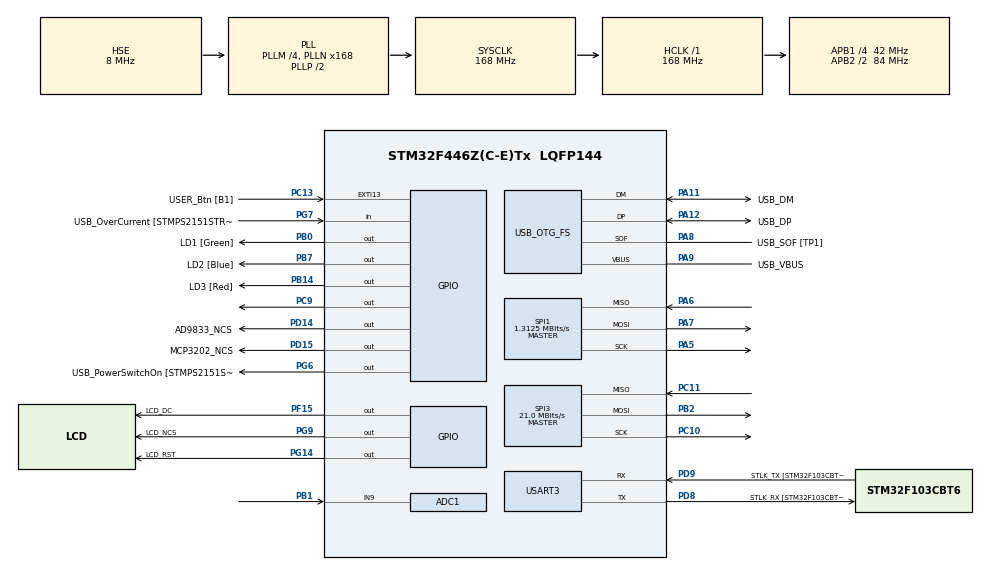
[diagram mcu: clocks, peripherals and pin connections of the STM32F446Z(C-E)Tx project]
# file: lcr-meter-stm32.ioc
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ADC1.Channel-0\#ChannelRegularConversion=ADC_CHANNEL_9
ADC1.NbrOfConversionFlag=1
ADC1.Rank-0\#ChannelRegularConversion=1
ADC1.SamplingTime-0\#ChannelRegularConversion=ADC_SAMPLETIME_3CYCLES
ADC1.master=1
Mcu.Family=STM32F4
Mcu.Name=STM32F446Z(C-E)Tx
Mcu.Package=LQFP144
NVIC.EXTI15_10_IRQn=true\:0\:0\:false\:false\:true\:true\:true\:true
NVIC.PriorityGroup=NVIC_PRIORITYGROUP_4
NVIC.TIM2_IRQn=true\:0\:0\:false\:false\:true\:true\:true\:true
PA10.GPIO_Label=USB_ID
PA10.Signal=USB_OTG_FS_ID
PA11.GPIO_Label=USB_DM
PA11.Mode=Device_Only
PA11.Signal=USB_OTG_FS_DM
PA12.GPIO_Label=USB_DP
PA12.Mode=Device_Only
PA12.Signal=USB_OTG_FS_DP
PA13.GPIO_Label=TMS
PA13.Mode=Serial_Wire
PA13.Signal=SYS_JTMS-SWDIO
PA14.GPIO_Label=TCK
PA14.Mode=Serial_Wire
PA14.Signal=SYS_JTCK-SWCLK
PA5.Mode=Full_Duplex_Master
PA5.Signal=SPI1_SCK
PA6.Mode=Full_Duplex_Master
PA6.Signal=SPI1_MISO
PA7.Mode=Full_Duplex_Master
PA7.Signal=SPI1_MOSI
PA8.GPIO_Label=USB_SOF [TP1]
PA8.Mode=Activate_SOF_FS
PA8.Signal=USB_OTG_FS_SOF
PA9.GPIO_Label=USB_VBUS
PA9.Mode=Activate_VBUS
PA9.Signal=USB_OTG_FS_VBUS
PB0.GPIO_Label=LD1 [Green]
PB0.Signal=GPIO_Output
PB1.Signal=ADCx_IN9
PB14.GPIO_Label=LD3 [Red]
PB14.Signal=GPIO_Output
PB2.Mode=Full_Duplex_Master
PB2.Signal=SPI3_MOSI
PB7.GPIO_Label=LD2 [Blue]
PB7.Signal=GPIO_Output
PC10.Mode=Full_Duplex_Master
PC10.Signal=SPI3_SCK
PC11.Mode=Full_Duplex_Master
PC11.Signal=SPI3_MISO
PC13.GPIO_Label=USER_Btn [B1]
PC13.Signal=GPXTI13
PC14-OSC32_IN.Mode=LSE-External-Oscillator
PC14-OSC32_IN.Signal=RCC_OSC32_IN
PC15-OSC32_OUT.Mode=LSE-External-Oscillator
PC15-OSC32_OUT.Signal=RCC_OSC32_OUT
PC9.PinState=GPIO_PIN_SET
PC9.Signal=GPIO_Output
PD14.GPIO_Label=AD9833_NCS
PD14.GPIO_Speed=GPIO_SPEED_FREQ_VERY_HIGH
PD14.PinState=GPIO_PIN_SET
PD14.Signal=GPIO_Output
PD15.GPIO_Label=MCP3202_NCS
PD15.GPIO_Speed=GPIO_SPEED_FREQ_VERY_HIGH
PD15.PinState=GPIO_PIN_SET
PD15.Signal=GPIO_Output
PD8.GPIO_Label=STLK_RX [STM32F103CBT6_PA3]
PD8.Mode=Asynchronous
PD8.Signal=USART3_TX
PD9.GPIO_Label=STLK_TX [STM32F103CBT6_PA2]
PD9.Mode=Asynchronous
PD9.Signal=USART3_RX
PF15.GPIO_Label=LCD_DC
PF15.GPIO_Speed=GPIO_SPEED_FREQ_VERY_HIGH
PF15.PinState=GPIO_PIN_SET
PF15.Signal=GPIO_Output
PG14.GPIO_Label=LCD_RST
PG14.GPIO_Speed=GPIO_SPEED_FREQ_VERY_HIGH
PG14.PinState=GPIO_PIN_SET
PG14.Signal=GPIO_Output
PG6.GPIO_Label=USB_PowerSwitchOn [STMPS2151STR_EN]
PG6.Signal=GPIO_Output
PG7.GPIO_Label=USB_OverCurrent [STMPS2151STR_FAULT]
PG7.Signal=GPIO_Input
PG9.GPIO_Label=LCD_NCS
PG9.GPIO_Speed=GPIO_SPEED_FREQ_VERY_HIGH
PG9.PinState=GPIO_PIN_SET
PG9.Signal=GPIO_Output
PH0-OSC_IN.GPIO_Label=MCO [STM32F103CBT6_PA8]
PH0-OSC_IN.Mode=HSE-External-Clock-Source
PH0-OSC_IN.Signal=RCC_OSC_IN
PH1-OSC_OUT.Mode=HSE-External-Clock-Source
PH1-OSC_OUT.Signal=RCC_OSC_OUT
ProjectManager.HeapSize=0x200
ProjectManager.StackSize=0x400
ProjectManager.TargetToolchain=STM32CubeIDE
RCC.48MHZClocksFreq_Value=24000000
RCC.AHBFreq_Value=168000000
RCC.APB1CLKDivider=RCC_HCLK_DIV4
RCC.APB1Freq_Value=42000000
RCC.APB1TimFreq_Value=84000000
RCC.APB2CLKDivider=RCC_HCLK_DIV2
RCC.APB2Freq_Value=84000000
RCC.APB2TimFreq_Value=168000000
RCC.CortexFreq_Value=168000000
RCC.HCLKFreq_Value=168000000
RCC.HSE_VALUE=8000000
RCC.HSI_VALUE=16000000
RCC.PLLM=4
RCC.PLLMUL=RCC_PLL_MUL9
RCC.PLLN=168
RCC.PLLQ=7
RCC.PRESCALERUSB=RCC_USBCLKSOURCE_PLL_DIV1_5
RCC.SYSCLKFreq_VALUE=168000000
RCC.SYSCLKSource=RCC_SYSCLKSOURCE_PLLCLK
RCC.SYSCLKSourceVirtual=RCC_SYSCLKSOURCE_PLLCLK
RCC.USBFreq_Value=48000000
RCC.VCOOutputFreq_Value=336000000
SH.ADCx_IN9.0=ADC1_IN9,IN9
SPI1.BaudRatePrescaler=SPI_BAUDRATEPRESCALER_64
SPI1.CLKPhase=SPI_PHASE_1EDGE
SPI1.CLKPolarity=SPI_POLARITY_HIGH
SPI1.CalculateBaudRate=1.3125 MBits/s
SPI1.Direction=SPI_DIRECTION_2LINES
SPI1.Mode=SPI_MODE_MASTER
SPI1.VirtualType=VM_MASTER
SPI3.CalculateBaudRate=21.0 MBits/s
SPI3.Direction=SPI_DIRECTION_2LINES
SPI3.Mode=SPI_MODE_MASTER
SPI3.VirtualType=VM_MASTER
TIM2.AutoReloadPreload=TIM_AUTORELOAD_PRELOAD_ENABLE
TIM2.ClockDivision=TIM_CLOCKDIVISION_DIV1
TIM2.Prescaler=83
USART3.VirtualMode=VM_ASYNC
USB_OTG_FS.VirtualMode=Device_Only
VP_TIM2_VS_ClockSourceINT.Mode=Internal
board=NUCLEO-F446ZE

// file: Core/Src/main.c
/* USER CODE BEGIN Header */
/**
  ******************************************************************************
  * @file           : main.c
  * @brief          : Main program body
  ******************************************************************************
  * @attention
  *
  * Copyright (c) 2024 STMicroelectronics.
  * All rights reserved.
  *
  * This software is licensed under terms that can be found in the LICENSE file
  * in the root directory of this software component.
  * If no LICENSE file comes with this software, it is provided AS-IS.
  *
  ******************************************************************************
  */
/* USER CODE END Header */
#include "main.h"

/* USER CODE BEGIN Includes */
#include "string.h"
#include "AD9833_STM32.h"
#include "MCP3202_STM32.h"
#include "sine_fit_STM32.h"
#include "sine_linear_regression_STM32.h"

#include "ILI9341_STM32_Driver.h"
#include "ILI9341_GFX.h"

#include <math.h>
/* USER CODE END Includes */

ADC_HandleTypeDef hadc1;

SPI_HandleTypeDef hspi1;
SPI_HandleTypeDef hspi3;

TIM_HandleTypeDef htim2;

UART_HandleTypeDef huart3;

PCD_HandleTypeDef hpcd_USB_OTG_FS;

void SystemClock_Config(void);
static void MX_GPIO_Init(void);
static void MX_USART3_UART_Init(void);
static void MX_USB_OTG_FS_PCD_Init(void);
static void MX_ADC1_Init(void);
static void MX_SPI1_Init(void);
static void MX_TIM2_Init(void);
static void MX_SPI3_Init(void);

/* USER CODE BEGIN 0 */

uint32_t frequency = 1000;
int FREQ_UPDATE_NEEDED = 1; // Flag to tell the system that it needs to update the test frequency.

void Show_Stats(float reactance, float resistance, float frequency){
//	ILI9341_Fill_Screen(BLACK);
	ILI9341_Set_Rotation(SCREEN_HORIZONTAL_2);

	double X = (double) reactance;
	double R = (double) resistance;

	// Make sure in project properties to add the linker flag -u _printf_float

    char buffer[50]; // Buffer to hold the formatted string
	if (X < 0){
		float capacitance = -1e9 / (2 * M_PI * frequency * X);
		ILI9341_Draw_Text("                        ", 10, 48, WHITE, 2, BLACK);
		snprintf(buffer, sizeof(buffer), "Cs: %.2f nF", capacitance);
		ILI9341_Draw_Text(buffer, 10, 48, WHITE, 2, BLACK);

        char impedance[50];
        snprintf(impedance, sizeof(impedance), "Z: %.2f - j %.2f", R, -X);

		ILI9341_Draw_Text("                        ", 10, 144, WHITE, 2, BLACK);
		ILI9341_Draw_Text(impedance, 10, 144, WHITE, 2, BLACK);

	} else {
        float inductance = X * 1e6 / (2 * M_PI * frequency);
		ILI9341_Draw_Text("                        ", 10, 48, WHITE, 2, BLACK);
        snprintf(buffer, sizeof(buffer), "Ls: %.2f uH", inductance);
        ILI9341_Draw_Text(buffer, 10, 48, WHITE, 2, BLACK);

        char impedance[50];
        snprintf(impedance, sizeof(impedance), "Z: %.2f + j %.2f", R, X);

		ILI9341_Draw_Text("                        ", 10, 144, WHITE, 2, BLACK);
		ILI9341_Draw_Text(impedance, 10, 144, WHITE, 2, BLACK);
	}

	ILI9341_Draw_Text("                        ", 10, 96, WHITE, 2, BLACK);
	snprintf(buffer, sizeof(buffer), "ESR: %.2f Ohms", R);
	ILI9341_Draw_Text(buffer, 10, 96, WHITE, 2, BLACK);

	ILI9341_Draw_Text("                        ", 10, 192, WHITE, 2, BLACK);
	snprintf(buffer, sizeof(buffer), "Freq: %.2f kHz", frequency / 1000);
	ILI9341_Draw_Text(buffer, 10, 192, WHITE, 2, BLACK);
}

uint32_t Get_Time_us(void) {
	return __HAL_TIM_GET_COUNTER(&htim2); // Read timer
}

void wait_us(uint32_t w) {
  uint32_t s = Get_Time_us();
  while(Get_Time_us() - s < w);
}

/* USER CODE END 0 */

int main(void)
{

  /* MCU Configuration--------------------------------------------------------*/

  /* Reset of all peripherals, Initializes the Flash interface and the Systick. */
  HAL_Init();

  /* Configure the system clock */
  SystemClock_Config();

  /* Initialize all configured peripherals */
  MX_GPIO_Init();
  MX_USART3_UART_Init();
  MX_USB_OTG_FS_PCD_Init();
  MX_ADC1_Init();
  MX_SPI1_Init();
  MX_TIM2_Init();
  MX_SPI3_Init();
  /* USER CODE BEGIN 2 */

  int n_points = 1000;

  uint32_t start_time;

  // All the data must be floating point, as the nucleo board I'm using doesn't have enough memory for double.
  float ch0_data[n_points];
  float ch0_time[n_points];
  memset(ch0_data, 0, n_points);  // Set all bytes in the array to 0
  memset(ch0_time, 0, n_points);  // Set all bytes in the array to 0

  float ch1_data[n_points];
  float ch1_time[n_points];
  memset(ch1_time, 0, n_points);  // Set all bytes in the array to 0
  memset(ch1_data, 0, n_points);  // Set all bytes in the array to 0

  __HAL_TIM_SET_COUNTER(&htim2, 0);
  HAL_TIM_Base_Start(&htim2);

  start_time = Get_Time_us();

  float load_amplitude = 0;
  float load_phase = 0;
  float load_offset = 0;

  float shunt_amplitude = 0;
  float shunt_phase = 0;
  float shunt_offset = 0;

  ILI9341_Init(); // This messses with somthing, which causxes the signal generation to be incorrect
  // Not sure what happens.

  /* USER CODE END 2 */

  /* Infinite loop */
  /* USER CODE BEGIN WHILE */
  while (1)
  {

	  if (FREQ_UPDATE_NEEDED > 0) {
		  AD9833_set_freq(frequency);
		  AD9833_set_freq(frequency);
		  // I have to do this twice because I'm using two SPI devices on this bus which
		  // use different modes. After an ADC reading, the clock idles low. This
		  // for some reason can't be changed by just reconfiguring the SPI bus (as I am doing in the
		  // AD9833 driver) but rather actually requires an spi transfer to initiate the correct
		  // Polarity clock for the start of the next transfer. This is required because the AD9833
		  // Requires the clock to idle HIGH before the CS/FSYNC pin goes low. I'm too lazy to figure
		  // out how to fix this easily. This works, so I'm keeping it.
		  FREQ_UPDATE_NEEDED = 0; // clear flag
	  }

	  float sampleF = frequency; // samples and hold the frequency to ensure it won't change while in the middle of gathering smaples
	  float avgX = 0;
	  float avgR = 0;
	  int cycles = 10;
	  for (int i = 0; i < cycles; i++) {
		  int samples = 0;
		  uint32_t s = Get_Time_us();
		  do { // Ensures that sample time is no longer than one period of a sine wave
			  //	  HAL_Delay(sample_delay);

			  ch0_data[samples] = ADC_Channel0();
			  ch0_time[samples] = ((double)(Get_Time_us() - start_time)) / 1e6;
		//	  HAL_Delay(sample_delay);
			  ch1_data[samples] = ADC_Channel1();
			  ch1_time[samples] = ((double)(Get_Time_us() - start_time)) / 1e6;

			  samples++;
		  } while((float)(Get_Time_us() - s) < 1 * 1e6 / frequency);

		  fitSineWave(ch0_data, ch0_time, samples, sampleF, &load_amplitude, &load_phase, &load_offset);
		  fitSineWave(ch1_data, ch1_time, samples, sampleF, &shunt_amplitude, &shunt_phase, &shunt_offset);

		  float shunt_resistance = 993.6;
		  float impedance_magnitude = (load_amplitude / (shunt_amplitude / shunt_resistance));
		  float impedance_angle = (load_phase - shunt_phase);
		  if (impedance_angle > M_PI) {
			  impedance_angle -= 2 * M_PI;
		  }
		  float resistance = impedance_magnitude * cos(impedance_angle) - shunt_resistance;
		  float reactance = impedance_magnitude * sin(impedance_angle);

		  samples = 0;
		  __HAL_TIM_SET_COUNTER(&htim2, 0);
		  start_time = Get_Time_us();
		  avgX += reactance;
		  avgR += resistance;
	  }
	  avgX = avgX / cycles;
	  avgR = avgR / cycles;

	  Show_Stats(avgX, avgR, sampleF);

    /* USER CODE END WHILE */

  }
}

void SystemClock_Config(void)
{
  RCC_OscInitTypeDef RCC_OscInitStruct = {0};
  RCC_ClkInitTypeDef RCC_ClkInitStruct = {0};

  /** Configure the main internal regulator output voltage
  */
  __HAL_RCC_PWR_CLK_ENABLE();
  __HAL_PWR_VOLTAGESCALING_CONFIG(PWR_REGULATOR_VOLTAGE_SCALE1);

  /** Initializes the RCC Oscillators according to the specified parameters
  * in the RCC_OscInitTypeDef structure.
  */
  RCC_OscInitStruct.OscillatorType = RCC_OSCILLATORTYPE_HSE;
  RCC_OscInitStruct.HSEState = RCC_HSE_BYPASS;
  RCC_OscInitStruct.PLL.PLLState = RCC_PLL_ON;
  RCC_OscInitStruct.PLL.PLLSource = RCC_PLLSOURCE_HSE;
  RCC_OscInitStruct.PLL.PLLM = 4;
  RCC_OscInitStruct.PLL.PLLN = 168;
  RCC_OscInitStruct.PLL.PLLP = RCC_PLLP_DIV2;
  RCC_OscInitStruct.PLL.PLLQ = 7;
  RCC_OscInitStruct.PLL.PLLR = 2;
  if (HAL_RCC_OscConfig(&RCC_OscInitStruct) != HAL_OK)
  {
    Error_Handler();
  }

  /** Initializes the CPU, AHB and APB buses clocks
  */
  RCC_ClkInitStruct.ClockType = RCC_CLOCKTYPE_HCLK|RCC_CLOCKTYPE_SYSCLK
                              |RCC_CLOCKTYPE_PCLK1|RCC_CLOCKTYPE_PCLK2;
  RCC_ClkInitStruct.SYSCLKSource = RCC_SYSCLKSOURCE_PLLCLK;
  RCC_ClkInitStruct.AHBCLKDivider = RCC_SYSCLK_DIV1;
  RCC_ClkInitStruct.APB1CLKDivider = RCC_HCLK_DIV4;
  RCC_ClkInitStruct.APB2CLKDivider = RCC_HCLK_DIV2;

  if (HAL_RCC_ClockConfig(&RCC_ClkInitStruct, FLASH_LATENCY_5) != HAL_OK)
  {
    Error_Handler();
  }
}

static void MX_ADC1_Init(void)
{

  ADC_ChannelConfTypeDef sConfig = {0};

  /** Configure the global features of the ADC (Clock, Resolution, Data Alignment and number of conversion)
  */
  hadc1.Instance = ADC1;
  hadc1.Init.ClockPrescaler = ADC_CLOCK_SYNC_PCLK_DIV4;
  hadc1.Init.Resolution = ADC_RESOLUTION_12B;
  hadc1.Init.ScanConvMode = DISABLE;
  hadc1.Init.ContinuousConvMode = DISABLE;
  hadc1.Init.DiscontinuousConvMode = DISABLE;
  hadc1.Init.ExternalTrigConvEdge = ADC_EXTERNALTRIGCONVEDGE_NONE;
  hadc1.Init.ExternalTrigConv = ADC_SOFTWARE_START;
  hadc1.Init.DataAlign = ADC_DATAALIGN_RIGHT;
  hadc1.Init.NbrOfConversion = 1;
  hadc1.Init.DMAContinuousRequests = DISABLE;
  hadc1.Init.EOCSelection = ADC_EOC_SINGLE_CONV;
  if (HAL_ADC_Init(&hadc1) != HAL_OK)
  {
    Error_Handler();
  }

  /** Configure for the selected ADC regular channel its corresponding rank in the sequencer and its sample time.
  */
  sConfig.Channel = ADC_CHANNEL_9;
  sConfig.Rank = 1;
  sConfig.SamplingTime = ADC_SAMPLETIME_3CYCLES;
  if (HAL_ADC_ConfigChannel(&hadc1, &sConfig) != HAL_OK)
  {
    Error_Handler();
  }

}

static void MX_SPI1_Init(void)
{

  /* SPI1 parameter configuration*/
  hspi1.Instance = SPI1;
  hspi1.Init.Mode = SPI_MODE_MASTER;
  hspi1.Init.Direction = SPI_DIRECTION_2LINES;
  hspi1.Init.DataSize = SPI_DATASIZE_8BIT;
  hspi1.Init.CLKPolarity = SPI_POLARITY_HIGH;
  hspi1.Init.CLKPhase = SPI_PHASE_1EDGE;
  hspi1.Init.NSS = SPI_NSS_SOFT;
  hspi1.Init.BaudRatePrescaler = SPI_BAUDRATEPRESCALER_64;
  hspi1.Init.FirstBit = SPI_FIRSTBIT_MSB;
  hspi1.Init.TIMode = SPI_TIMODE_DISABLE;
  hspi1.Init.CRCCalculation = SPI_CRCCALCULATION_DISABLE;
  hspi1.Init.CRCPolynomial = 10;
  if (HAL_SPI_Init(&hspi1) != HAL_OK)
  {
    Error_Handler();
  }

}

static void MX_SPI3_Init(void)
{

  /* SPI3 parameter configuration*/
  hspi3.Instance = SPI3;
  hspi3.Init.Mode = SPI_MODE_MASTER;
  hspi3.Init.Direction = SPI_DIRECTION_2LINES;
  hspi3.Init.DataSize = SPI_DATASIZE_8BIT;
  hspi3.Init.CLKPolarity = SPI_POLARITY_LOW;
  hspi3.Init.CLKPhase = SPI_PHASE_1EDGE;
  hspi3.Init.NSS = SPI_NSS_SOFT;
  hspi3.Init.BaudRatePrescaler = SPI_BAUDRATEPRESCALER_2;
  hspi3.Init.FirstBit = SPI_FIRSTBIT_MSB;
  hspi3.Init.TIMode = SPI_TIMODE_DISABLE;
  hspi3.Init.CRCCalculation = SPI_CRCCALCULATION_DISABLE;
  hspi3.Init.CRCPolynomial = 10;
  if (HAL_SPI_Init(&hspi3) != HAL_OK)
  {
    Error_Handler();
  }

}

static void MX_TIM2_Init(void)
{

  TIM_ClockConfigTypeDef sClockSourceConfig = {0};
  TIM_MasterConfigTypeDef sMasterConfig = {0};

  htim2.Instance = TIM2;
  htim2.Init.Prescaler = 83;
  htim2.Init.CounterMode = TIM_COUNTERMODE_UP;
  htim2.Init.Period = 4294967295;
  htim2.Init.ClockDivision = TIM_CLOCKDIVISION_DIV1;
  htim2.Init.AutoReloadPreload = TIM_AUTORELOAD_PRELOAD_ENABLE;
  if (HAL_TIM_Base_Init(&htim2) != HAL_OK)
  {
    Error_Handler();
  }
  sClockSourceConfig.ClockSource = TIM_CLOCKSOURCE_INTERNAL;
  if (HAL_TIM_ConfigClockSource(&htim2, &sClockSourceConfig) != HAL_OK)
  {
    Error_Handler();
  }
  sMasterConfig.MasterOutputTrigger = TIM_TRGO_RESET;
  sMasterConfig.MasterSlaveMode = TIM_MASTERSLAVEMODE_DISABLE;
  if (HAL_TIMEx_MasterConfigSynchronization(&htim2, &sMasterConfig) != HAL_OK)
  {
    Error_Handler();
  }

}

static void MX_USART3_UART_Init(void)
{

  huart3.Instance = USART3;
  huart3.Init.BaudRate = 115200;
  huart3.Init.WordLength = UART_WORDLENGTH_8B;
  huart3.Init.StopBits = UART_STOPBITS_1;
  huart3.Init.Parity = UART_PARITY_NONE;
  huart3.Init.Mode = UART_MODE_TX_RX;
  huart3.Init.HwFlowCtl = UART_HWCONTROL_NONE;
  huart3.Init.OverSampling = UART_OVERSAMPLING_16;
  if (HAL_UART_Init(&huart3) != HAL_OK)
  {
    Error_Handler();
  }

}

static void MX_USB_OTG_FS_PCD_Init(void)
{

  hpcd_USB_OTG_FS.Instance = USB_OTG_FS;
  hpcd_USB_OTG_FS.Init.dev_endpoints = 6;
  hpcd_USB_OTG_FS.Init.speed = PCD_SPEED_FULL;
  hpcd_USB_OTG_FS.Init.dma_enable = DISABLE;
  hpcd_USB_OTG_FS.Init.phy_itface = PCD_PHY_EMBEDDED;
  hpcd_USB_OTG_FS.Init.Sof_enable = ENABLE;
  hpcd_USB_OTG_FS.Init.low_power_enable = DISABLE;
  hpcd_USB_OTG_FS.Init.lpm_enable = DISABLE;
  hpcd_USB_OTG_FS.Init.vbus_sensing_enable = ENABLE;
  hpcd_USB_OTG_FS.Init.use_dedicated_ep1 = DISABLE;
  if (HAL_PCD_Init(&hpcd_USB_OTG_FS) != HAL_OK)
  {
    Error_Handler();
  }

}

static void MX_GPIO_Init(void)
{
  GPIO_InitTypeDef GPIO_InitStruct = {0};

  /* GPIO Ports Clock Enable */
  __HAL_RCC_GPIOC_CLK_ENABLE();
  __HAL_RCC_GPIOH_CLK_ENABLE();
  __HAL_RCC_GPIOA_CLK_ENABLE();
  __HAL_RCC_GPIOB_CLK_ENABLE();
  __HAL_RCC_GPIOF_CLK_ENABLE();
  __HAL_RCC_GPIOD_CLK_ENABLE();
  __HAL_RCC_GPIOG_CLK_ENABLE();

  /*Configure GPIO pin Output Level */
  HAL_GPIO_WritePin(GPIOB, LD1_Pin|LD3_Pin|LD2_Pin, GPIO_PIN_RESET);

  /*Configure GPIO pin Output Level */
  HAL_GPIO_WritePin(LCD_DC_GPIO_Port, LCD_DC_Pin, GPIO_PIN_SET);

  /*Configure GPIO pin Output Level */
  HAL_GPIO_WritePin(GPIOD, AD9833_NCS_Pin|MCP3202_NCS_Pin, GPIO_PIN_SET);

  /*Configure GPIO pin Output Level */
  HAL_GPIO_WritePin(USB_PowerSwitchOn_GPIO_Port, USB_PowerSwitchOn_Pin, GPIO_PIN_RESET);

  /*Configure GPIO pin Output Level */
  HAL_GPIO_WritePin(GPIOC, GPIO_PIN_9, GPIO_PIN_SET);

  /*Configure GPIO pin Output Level */
  HAL_GPIO_WritePin(GPIOG, LCD_NCS_Pin|LCD_RST_Pin, GPIO_PIN_SET);

  /*Configure GPIO pin : USER_Btn_Pin */
  GPIO_InitStruct.Pin = USER_Btn_Pin;
  GPIO_InitStruct.Mode = GPIO_MODE_IT_RISING;
  GPIO_InitStruct.Pull = GPIO_NOPULL;
  HAL_GPIO_Init(USER_Btn_GPIO_Port, &GPIO_InitStruct);

  /*Configure GPIO pins : LD1_Pin LD3_Pin LD2_Pin */
  GPIO_InitStruct.Pin = LD1_Pin|LD3_Pin|LD2_Pin;
  GPIO_InitStruct.Mode = GPIO_MODE_OUTPUT_PP;
  GPIO_InitStruct.Pull = GPIO_NOPULL;
  GPIO_InitStruct.Speed = GPIO_SPEED_FREQ_LOW;
  HAL_GPIO_Init(GPIOB, &GPIO_InitStruct);

  /*Configure GPIO pin : LCD_DC_Pin */
  GPIO_InitStruct.Pin = LCD_DC_Pin;
  GPIO_InitStruct.Mode = GPIO_MODE_OUTPUT_PP;
  GPIO_InitStruct.Pull = GPIO_NOPULL;
  GPIO_InitStruct.Speed = GPIO_SPEED_FREQ_VERY_HIGH;
  HAL_GPIO_Init(LCD_DC_GPIO_Port, &GPIO_InitStruct);

  /*Configure GPIO pins : AD9833_NCS_Pin MCP3202_NCS_Pin */
  GPIO_InitStruct.Pin = AD9833_NCS_Pin|MCP3202_NCS_Pin;
  GPIO_InitStruct.Mode = GPIO_MODE_OUTPUT_PP;
  GPIO_InitStruct.Pull = GPIO_NOPULL;
  GPIO_InitStruct.Speed = GPIO_SPEED_FREQ_VERY_HIGH;
  HAL_GPIO_Init(GPIOD, &GPIO_InitStruct);

  /*Configure GPIO pin : USB_PowerSwitchOn_Pin */
  GPIO_InitStruct.Pin = USB_PowerSwitchOn_Pin;
  GPIO_InitStruct.Mode = GPIO_MODE_OUTPUT_PP;
  GPIO_InitStruct.Pull = GPIO_NOPULL;
  GPIO_InitStruct.Speed = GPIO_SPEED_FREQ_LOW;
  HAL_GPIO_Init(USB_PowerSwitchOn_GPIO_Port, &GPIO_InitStruct);

  /*Configure GPIO pin : USB_OverCurrent_Pin */
  GPIO_InitStruct.Pin = USB_OverCurrent_Pin;
  GPIO_InitStruct.Mode = GPIO_MODE_INPUT;
  GPIO_InitStruct.Pull = GPIO_NOPULL;
  HAL_GPIO_Init(USB_OverCurrent_GPIO_Port, &GPIO_InitStruct);

  /*Configure GPIO pin : PC9 */
  GPIO_InitStruct.Pin = GPIO_PIN_9;
  GPIO_InitStruct.Mode = GPIO_MODE_OUTPUT_PP;
  GPIO_InitStruct.Pull = GPIO_NOPULL;
  GPIO_InitStruct.Speed = GPIO_SPEED_FREQ_LOW;
  HAL_GPIO_Init(GPIOC, &GPIO_InitStruct);

  /*Configure GPIO pins : LCD_NCS_Pin LCD_RST_Pin */
  GPIO_InitStruct.Pin = LCD_NCS_Pin|LCD_RST_Pin;
  GPIO_InitStruct.Mode = GPIO_MODE_OUTPUT_PP;
  GPIO_InitStruct.Pull = GPIO_NOPULL;
  GPIO_InitStruct.Speed = GPIO_SPEED_FREQ_VERY_HIGH;
  HAL_GPIO_Init(GPIOG, &GPIO_InitStruct);

  /* EXTI interrupt init*/
  HAL_NVIC_SetPriority(EXTI15_10_IRQn, 0, 0);
  HAL_NVIC_EnableIRQ(EXTI15_10_IRQn);

}

/* USER CODE BEGIN 4 */
void HAL_GPIO_EXTI_Callback(uint16_t GPIO_Pin) {
//	HAL_GPIO_TogglePin(GPIOB, LD1_Pin|LD3_Pin|LD2_Pin);
//	int frequency = 0;
	frequency = frequency + 1000;
	if (frequency > 5000) {
		frequency = 1000;
	}
	FREQ_UPDATE_NEEDED = 1;
}
/* USER CODE END 4 */

void Error_Handler(void)
{
  __disable_irq();
  while (1)
  {
  }
}
